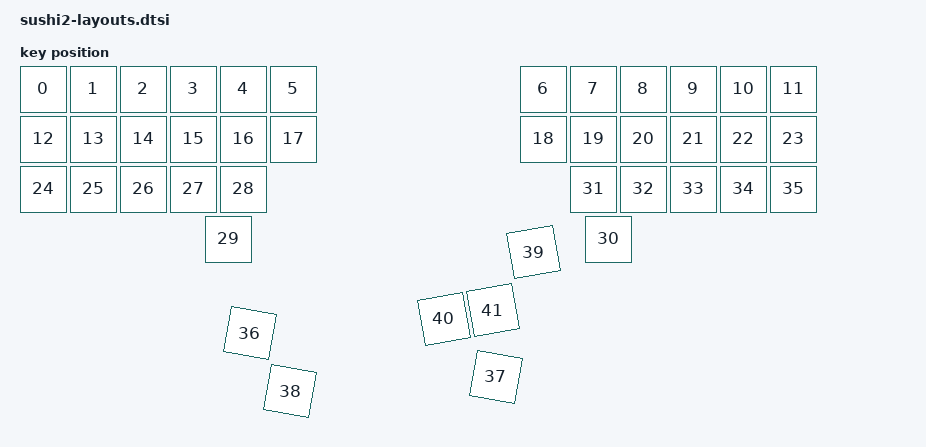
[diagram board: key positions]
// See https://zmk.dev/docs/development/hardware-integration/physical-layouts
// for how to configure this.

#include <physical_layouts.dtsi>

/ {
    default_layout: default_layout {
        compatible = "zmk,physical-layout";
        display-name = "Default Layout";
        transform = <&default_transform>;
        kscan = <&kscan>;

        // Edit this to define the positions and sizes of the keys, or remove it
        // if your keyboard will not support ZMK Studio.
        // https://zmk.dev/docs/development/hardware-integration/physical-layouts#optional-keys-property
        keys  //                     w   h    x    y     rot    rx    ry
            = <&key_physical_attrs 100 100    0    0       0     0     0>
            , <&key_physical_attrs 100 100  100    0       0     0     0>
            , <&key_physical_attrs 100 100  200    0       0     0     0>
            , <&key_physical_attrs 100 100  300    0       0     0     0>
            , <&key_physical_attrs 100 100  400    0       0     0     0>
            , <&key_physical_attrs 100 100  500    0       0     0     0>
            , <&key_physical_attrs 100 100 1000    0       0     0     0>
            , <&key_physical_attrs 100 100 1100    0       0     0     0>
            , <&key_physical_attrs 100 100 1200    0       0     0     0>
            , <&key_physical_attrs 100 100 1300    0       0     0     0>
            , <&key_physical_attrs 100 100 1400    0       0     0     0>
            , <&key_physical_attrs 100 100 1500    0       0     0     0>
            // row 2
			, <&key_physical_attrs 100 100    0  100       0     0     0>
            , <&key_physical_attrs 100 100  100  100       0     0     0>
            , <&key_physical_attrs 100 100  200  100       0     0     0>
            , <&key_physical_attrs 100 100  300  100       0     0     0>
            , <&key_physical_attrs 100 100  400  100       0     0     0>
            , <&key_physical_attrs 100 100  500  100       0     0     0>
            , <&key_physical_attrs 100 100 1000  100       0     0     0>
            , <&key_physical_attrs 100 100 1100  100       0     0     0>
            , <&key_physical_attrs 100 100 1200  100       0     0     0>
            , <&key_physical_attrs 100 100 1300  100       0     0     0>
            , <&key_physical_attrs 100 100 1400  100       0     0     0>
            , <&key_physical_attrs 100 100 1500  100       0     0     0>
            // row 3
			, <&key_physical_attrs 100 100    0  200       0     0     0>
            , <&key_physical_attrs 100 100  100  200       0     0     0>
            , <&key_physical_attrs 100 100  200  200       0     0     0>
            , <&key_physical_attrs 100 100  300  200       0     0     0>
            , <&key_physical_attrs 100 100  400  200       0     0     0>
            , <&key_physical_attrs 100 100  370  300       0     0     0>
            , <&key_physical_attrs 100 100 1130  300       0     0     0>
            , <&key_physical_attrs 100 100 1100  200       0     0     0>
            , <&key_physical_attrs 100 100 1200  200       0     0     0>
            , <&key_physical_attrs 100 100 1300  200       0     0     0>
            , <&key_physical_attrs 100 100 1400  200       0     0     0>
            , <&key_physical_attrs 100 100 1500  200       0     0     0>
			// thumb buttons
            , <&key_physical_attrs 100 100  500  400    1000     0     0>
            , <&key_physical_attrs 100 100 1000  400    1000     0     0>
            , <&key_physical_attrs 100 100  600  500    1000     0     0>
            , <&key_physical_attrs 100 100  900  500  (-1000)    0     0>
            , <&key_physical_attrs 100 100  700  600  (-1000)    0     0>
            , <&key_physical_attrs 100 100  800  600  (-1000)    0     0>
            ;
    };
};
